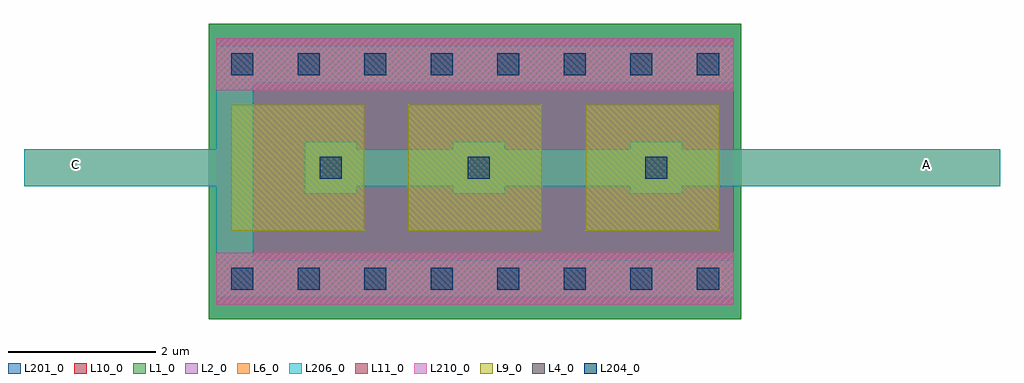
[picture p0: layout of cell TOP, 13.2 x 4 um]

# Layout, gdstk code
import gdstk
lib = gdstk.Library(unit=1e-6, precision=1e-09)
def R(c, l, rs):  # rectangles x0, y0, x1, y1
    for r in rs: c.add(gdstk.rectangle(r[:2], r[2:], *l))
def A(c, l, x, y, w, h, nx, ny, dx, dy):  # array of equal rectangles
    R(c, l, [(x+i*dx, y+j*dy, x+i*dx+w, y+j*dy+h) for i in range(nx) for j in range(ny)])
L1_0 = (1, 0)
L2_0 = (2, 0)
L4_0 = (4, 0)
L6_0 = (6, 0)
L9_0 = (9, 0)
L10_0 = (10, 0)
L11_0 = (11, 0)
L201_0 = (201, 0)
L204_0 = (204, 0)
L206_0 = (206, 0)
L210_0 = (210, 0)

d_diode = lib.new_cell('D$DIODE')
R(d_diode, L201_0, [(-0.9,-0.85,0.9,0.85)])

net_top_a = lib.new_cell('NET_TOP_A')
R(net_top_a, L204_0, [(-2,-0.3,-1.7,0), (0,-0.3,0.3,0), (2.4,-0.3,2.7,0)])
R(net_top_a, L206_0, [(-2.2,-0.5,-1.5,0.2), (-0.2,-0.5,0.5,0.2), (2.2,-0.5,2.9,0.2), (-1.6,-0.4,7.2,0.1)])
net_top_a.add(gdstk.Reference(d_diode, (-2.3,-0.15)))
net_top_a.add(gdstk.Reference(d_diode, (0.1,-0.15)))
net_top_a.add(gdstk.Reference(d_diode, (2.5,-0.15)))

net_top_c = lib.new_cell('NET_TOP_C')
R(net_top_c, L201_0, [(-3.5,-2.2,3.7,1.8)])
A(net_top_c, L204_0, -3.2, -1.8, 0.3, 0.3, 8, 2, 0.9, 2.9)
R(net_top_c, L206_0, [(-3.4,-1.9,-2.9,1.5), (-3.4,-1.9,3.6,-1.4), (-6,-0.4,-2.9,0.1), (-3.4,1,3.6,1.5)])
R(net_top_c, L210_0, [(-3.4,-2,3.6,-1.3), (-3.4,0.9,3.6,1.6)])
net_top_c.add(gdstk.Reference(d_diode, (-2.3,-0.15)))
net_top_c.add(gdstk.Reference(d_diode, (0.1,-0.15)))
net_top_c.add(gdstk.Reference(d_diode, (2.5,-0.15)))

top = lib.new_cell('TOP')
R(top, L1_0, [(-3.5,-2.2,3.7,1.8)])
R(top, L2_0, [(-3.4,-2,3.6,1.6)])
A(top, L4_0, -3.2, -1.8, 0.3, 0.3, 8, 2, 0.9, 2.9)
R(top, L4_0, [(-2,-0.3,-1.7,0), (0,-0.3,0.3,0), (2.4,-0.3,2.7,0)])
R(top, L6_0, [(-3.4,-1.9,-2.9,1.5), (-3.4,-1.9,3.6,-1.4), (-2.2,-0.5,-1.5,0.2), (-0.2,-0.5,0.5,0.2), (2.2,-0.5,2.9,0.2), (-6,-0.4,-2.9,0.1), (-1.6,-0.4,7.2,0.1), (-3.4,1,3.6,1.5)])
A(top, L9_0, -3.2, -1, 1.8, 1.7, 3, 1, 2.4, 0)
R(top, L10_0, [(-3.4,-2,3.6,-1.3), (-3.4,-2,3.6,1.6), (-3.4,0.9,3.6,1.6)])
R(top, L11_0, [(-3.4,-2,3.6,-1.3), (-3.4,0.9,3.6,1.6)])
top.add(gdstk.Reference(net_top_a, (0,0)))
top.add(gdstk.Reference(net_top_c, (0,0)))
top.add(gdstk.Reference(d_diode, (-2.3,-0.15)))
top.add(gdstk.Reference(d_diode, (0.1,-0.15)))
top.add(gdstk.Reference(d_diode, (2.5,-0.15)))
top.add(gdstk.Label('C', (-5.3,-0.1), layer=6, texttype=1))
top.add(gdstk.Label('A', (6.2,-0.1), layer=6, texttype=1))

lib.write_gds('TOP.gds')
